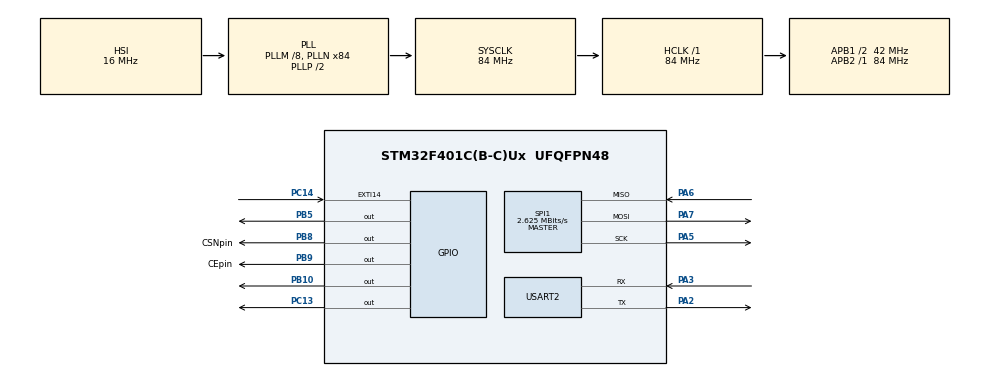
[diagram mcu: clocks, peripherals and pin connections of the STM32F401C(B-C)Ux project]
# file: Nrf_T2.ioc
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Mcu.Family=STM32F4
Mcu.Name=STM32F401C(B-C)Ux
Mcu.Package=UFQFPN48
NVIC.EXTI15_10_IRQn=true\:0\:0\:false\:false\:true\:true\:true\:true
NVIC.PriorityGroup=NVIC_PRIORITYGROUP_4
PA13.Mode=Serial_Wire
PA13.Signal=SYS_JTMS-SWDIO
PA14.Mode=Serial_Wire
PA14.Signal=SYS_JTCK-SWCLK
PA2.Mode=Asynchronous
PA2.Signal=USART2_TX
PA3.Mode=Asynchronous
PA3.Signal=USART2_RX
PA5.Mode=Full_Duplex_Master
PA5.Signal=SPI1_SCK
PA6.Mode=Full_Duplex_Master
PA6.Signal=SPI1_MISO
PA7.Mode=Full_Duplex_Master
PA7.Signal=SPI1_MOSI
PB10.Signal=GPIO_Output
PB5.Signal=GPIO_Output
PB8.GPIO_Label=CSNpin
PB8.Signal=GPIO_Output
PB9.GPIO_Label=CEpin
PB9.Signal=GPIO_Output
PC13-ANTI_TAMP.Signal=GPIO_Output
PC14-OSC32_IN.GPIO_ModeDefaultEXTI=GPIO_MODE_IT_FALLING
PC14-OSC32_IN.GPIO_PuPd=GPIO_PULLDOWN
PC14-OSC32_IN.Signal=GPXTI14
PH0\ -\ OSC_IN.Mode=HSE-External-Oscillator
PH0\ -\ OSC_IN.Signal=RCC_OSC_IN
PH1\ -\ OSC_OUT.Mode=HSE-External-Oscillator
PH1\ -\ OSC_OUT.Signal=RCC_OSC_OUT
ProjectManager.HeapSize=0x200
ProjectManager.StackSize=0x400
ProjectManager.TargetToolchain=STM32CubeIDE
RCC.48MHZClocksFreq_Value=42000000
RCC.AHBFreq_Value=84000000
RCC.APB1CLKDivider=RCC_HCLK_DIV2
RCC.APB1Freq_Value=42000000
RCC.APB1TimFreq_Value=84000000
RCC.APB2Freq_Value=84000000
RCC.APB2TimFreq_Value=84000000
RCC.CortexFreq_Value=84000000
RCC.HCLKFreq_Value=84000000
RCC.HSE_VALUE=25000000
RCC.HSI_VALUE=16000000
RCC.LSE_VALUE=32768
RCC.PLLM=8
RCC.PLLN=84
RCC.SYSCLKFreq_VALUE=84000000
RCC.SYSCLKSource=RCC_SYSCLKSOURCE_PLLCLK
RCC.VCOOutputFreq_Value=168000000
SPI1.BaudRatePrescaler=SPI_BAUDRATEPRESCALER_32
SPI1.CalculateBaudRate=2.625 MBits/s
SPI1.Direction=SPI_DIRECTION_2LINES
SPI1.Mode=SPI_MODE_MASTER
SPI1.VirtualType=VM_MASTER
USART2.VirtualMode=VM_ASYNC
board=custom

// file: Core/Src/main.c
/* USER CODE BEGIN Header */
/**
  ******************************************************************************
  * @file           : main.c
  * @brief          : Main program body
  ******************************************************************************
  * @attention
  *
  * Copyright (c) 2025 STMicroelectronics.
  * All rights reserved.
  *
  * This software is licensed under terms that can be found in the LICENSE file
  * in the root directory of this software component.
  * If no LICENSE file comes with this software, it is provided AS-IS.
  *
  ******************************************************************************
  */
/* USER CODE END Header */
#include "main.h"

/* USER CODE BEGIN Includes */
#include "stm32f4xx_hal.h"
#include "MY_NRF24.h"
#include "stdio.h"
/* USER CODE END Includes */

SPI_HandleTypeDef hspi1;

UART_HandleTypeDef huart2;

void SystemClock_Config(void);
static void MX_GPIO_Init(void);
static void MX_SPI1_Init(void);
static void MX_USART2_UART_Init(void);

/* USER CODE BEGIN 0 */
uint64_t TxpipeAddrs = 0x11223344AA;
uint8_t myTxData[1] = {255};
uint8_t send_counter = 0;

typedef enum {
    TX_STATE_IDLE,
    TX_STATE_SENDING
} TX_State;

TX_State current_state = TX_STATE_IDLE;

void HAL_GPIO_EXTI_Callback(uint16_t GPIO_Pin) {
    if (GPIO_Pin == GPIO_PIN_14 && current_state == TX_STATE_IDLE) {
        current_state = TX_STATE_SENDING;
        send_counter = 0;
        HAL_GPIO_TogglePin(GPIOB, GPIO_PIN_5);  // Toggle LED to indicate button was registered
    }
}
/* USER CODE END 0 */

int main(void)
{

  /* MCU Configuration--------------------------------------------------------*/

  /* Reset of all peripherals, Initializes the Flash interface and the Systick. */
  HAL_Init();

  /* Configure the system clock */
  SystemClock_Config();

  /* Initialize all configured peripherals */
  MX_GPIO_Init();
  MX_SPI1_Init();
  MX_USART2_UART_Init();
  /* USER CODE BEGIN 2 */

  NRF24_begin(GPIOB, CSNpin_Pin, CEpin_Pin, hspi1);
  //nrf24_DebugUART_Init(huart2);
  //printRadioSettings();

  NRF24_stopListening();
  NRF24_openWritingPipe(TxpipeAddrs);
  NRF24_setAutoAck(false);
  NRF24_setChannel(78);
  NRF24_setPayloadSize(1);

  HAL_GPIO_WritePin(GPIOB, GPIO_PIN_5, GPIO_PIN_SET); // LED ON (idle)

  /* USER CODE END 2 */

  /* Infinite loop */
  while (1)
  {

    /* USER CODE BEGIN 3 */
	  switch (current_state)
	     {
	       case TX_STATE_SENDING:
	         if (send_counter < 50)
	         {
	           NRF24_write(myTxData, 1);
	           send_counter++;
	           HAL_Delay(50);  // Delay between transmissions
	         }
	         else
	         {
	           current_state = TX_STATE_IDLE;
	         }
	         break;

	       case TX_STATE_IDLE:
	       default:
	         break;
	     }

  }
  /* USER CODE END 3 */
}

void SystemClock_Config(void)
{
  RCC_OscInitTypeDef RCC_OscInitStruct = {0};
  RCC_ClkInitTypeDef RCC_ClkInitStruct = {0};

  /** Configure the main internal regulator output voltage
  */
  __HAL_RCC_PWR_CLK_ENABLE();
  __HAL_PWR_VOLTAGESCALING_CONFIG(PWR_REGULATOR_VOLTAGE_SCALE2);

  /** Initializes the RCC Oscillators according to the specified parameters
  * in the RCC_OscInitTypeDef structure.
  */
  RCC_OscInitStruct.OscillatorType = RCC_OSCILLATORTYPE_HSI;
  RCC_OscInitStruct.HSIState = RCC_HSI_ON;
  RCC_OscInitStruct.HSICalibrationValue = RCC_HSICALIBRATION_DEFAULT;
  RCC_OscInitStruct.PLL.PLLState = RCC_PLL_ON;
  RCC_OscInitStruct.PLL.PLLSource = RCC_PLLSOURCE_HSI;
  RCC_OscInitStruct.PLL.PLLM = 8;
  RCC_OscInitStruct.PLL.PLLN = 84;
  RCC_OscInitStruct.PLL.PLLP = RCC_PLLP_DIV2;
  RCC_OscInitStruct.PLL.PLLQ = 4;
  if (HAL_RCC_OscConfig(&RCC_OscInitStruct) != HAL_OK)
  {
    Error_Handler();
  }

  /** Initializes the CPU, AHB and APB buses clocks
  */
  RCC_ClkInitStruct.ClockType = RCC_CLOCKTYPE_HCLK|RCC_CLOCKTYPE_SYSCLK
                              |RCC_CLOCKTYPE_PCLK1|RCC_CLOCKTYPE_PCLK2;
  RCC_ClkInitStruct.SYSCLKSource = RCC_SYSCLKSOURCE_PLLCLK;
  RCC_ClkInitStruct.AHBCLKDivider = RCC_SYSCLK_DIV1;
  RCC_ClkInitStruct.APB1CLKDivider = RCC_HCLK_DIV2;
  RCC_ClkInitStruct.APB2CLKDivider = RCC_HCLK_DIV1;

  if (HAL_RCC_ClockConfig(&RCC_ClkInitStruct, FLASH_LATENCY_2) != HAL_OK)
  {
    Error_Handler();
  }
}

static void MX_SPI1_Init(void)
{

  /* SPI1 parameter configuration*/
  hspi1.Instance = SPI1;
  hspi1.Init.Mode = SPI_MODE_MASTER;
  hspi1.Init.Direction = SPI_DIRECTION_2LINES;
  hspi1.Init.DataSize = SPI_DATASIZE_8BIT;
  hspi1.Init.CLKPolarity = SPI_POLARITY_LOW;
  hspi1.Init.CLKPhase = SPI_PHASE_1EDGE;
  hspi1.Init.NSS = SPI_NSS_SOFT;
  hspi1.Init.BaudRatePrescaler = SPI_BAUDRATEPRESCALER_32;
  hspi1.Init.FirstBit = SPI_FIRSTBIT_MSB;
  hspi1.Init.TIMode = SPI_TIMODE_DISABLE;
  hspi1.Init.CRCCalculation = SPI_CRCCALCULATION_DISABLE;
  hspi1.Init.CRCPolynomial = 10;
  if (HAL_SPI_Init(&hspi1) != HAL_OK)
  {
    Error_Handler();
  }

}

static void MX_USART2_UART_Init(void)
{

  huart2.Instance = USART2;
  huart2.Init.BaudRate = 115200;
  huart2.Init.WordLength = UART_WORDLENGTH_8B;
  huart2.Init.StopBits = UART_STOPBITS_1;
  huart2.Init.Parity = UART_PARITY_NONE;
  huart2.Init.Mode = UART_MODE_TX_RX;
  huart2.Init.HwFlowCtl = UART_HWCONTROL_NONE;
  huart2.Init.OverSampling = UART_OVERSAMPLING_16;
  if (HAL_UART_Init(&huart2) != HAL_OK)
  {
    Error_Handler();
  }

}

static void MX_GPIO_Init(void)
{
  GPIO_InitTypeDef GPIO_InitStruct = {0};

  /* GPIO Ports Clock Enable */
  __HAL_RCC_GPIOC_CLK_ENABLE();
  __HAL_RCC_GPIOH_CLK_ENABLE();
  __HAL_RCC_GPIOA_CLK_ENABLE();
  __HAL_RCC_GPIOB_CLK_ENABLE();

  /*Configure GPIO pin Output Level */
  HAL_GPIO_WritePin(GPIOC, GPIO_PIN_13, GPIO_PIN_RESET);

  /*Configure GPIO pin Output Level */
  HAL_GPIO_WritePin(GPIOB, GPIO_PIN_10|GPIO_PIN_5|CSNpin_Pin|CEpin_Pin, GPIO_PIN_RESET);

  /*Configure GPIO pin : PC13 */
  GPIO_InitStruct.Pin = GPIO_PIN_13;
  GPIO_InitStruct.Mode = GPIO_MODE_OUTPUT_PP;
  GPIO_InitStruct.Pull = GPIO_NOPULL;
  GPIO_InitStruct.Speed = GPIO_SPEED_FREQ_LOW;
  HAL_GPIO_Init(GPIOC, &GPIO_InitStruct);

  /*Configure GPIO pin : PC14 */
  GPIO_InitStruct.Pin = GPIO_PIN_14;
  GPIO_InitStruct.Mode = GPIO_MODE_IT_FALLING;
  GPIO_InitStruct.Pull = GPIO_PULLDOWN;
  HAL_GPIO_Init(GPIOC, &GPIO_InitStruct);

  /*Configure GPIO pins : PB10 PB5 CSNpin_Pin CEpin_Pin */
  GPIO_InitStruct.Pin = GPIO_PIN_10|GPIO_PIN_5|CSNpin_Pin|CEpin_Pin;
  GPIO_InitStruct.Mode = GPIO_MODE_OUTPUT_PP;
  GPIO_InitStruct.Pull = GPIO_NOPULL;
  GPIO_InitStruct.Speed = GPIO_SPEED_FREQ_LOW;
  HAL_GPIO_Init(GPIOB, &GPIO_InitStruct);

  /* EXTI interrupt init*/
  HAL_NVIC_SetPriority(EXTI15_10_IRQn, 0, 0);
  HAL_NVIC_EnableIRQ(EXTI15_10_IRQn);

}

void Error_Handler(void)
{
  __disable_irq();
  while (1)
  {
  }
}
